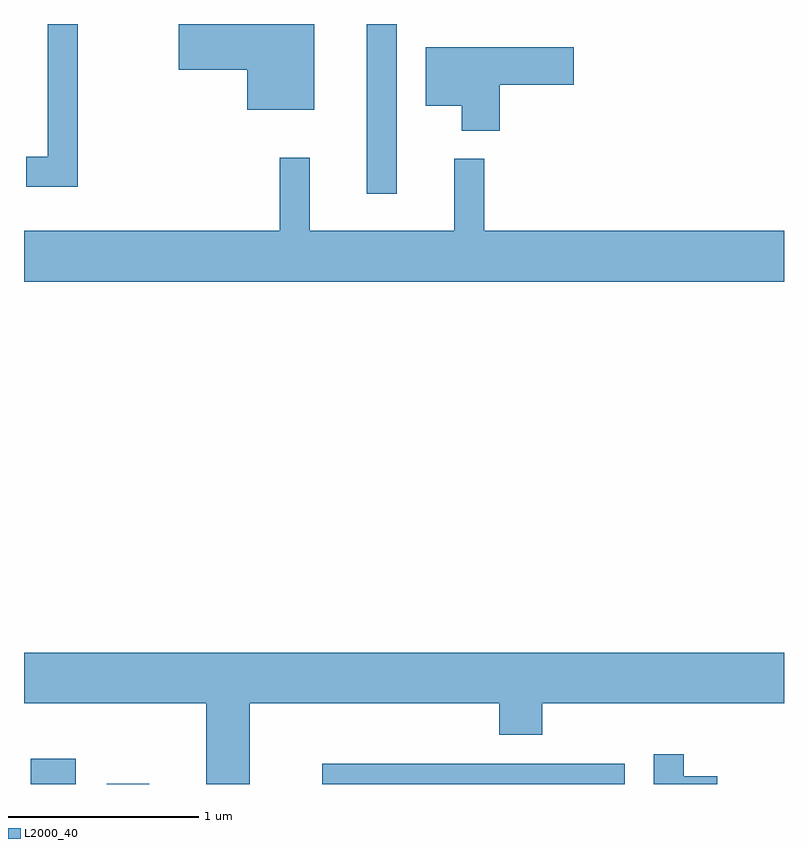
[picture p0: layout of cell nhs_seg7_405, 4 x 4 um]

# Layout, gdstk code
import gdstk
lib = gdstk.Library(unit=1e-6, precision=1e-09)
def R(c, l, rs):  # rectangles x0, y0, x1, y1
    for r in rs: c.add(gdstk.rectangle(r[:2], r[2:], *l))
def P(c, l, *ps):  # polygons
    for p in ps: c.add(gdstk.Polygon(p, *l))
L2000_40 = (2000, 40)

nhs_seg7_405 = lib.new_cell('nhs_seg7_405')
R(nhs_seg7_405, L2000_40, [(195.646,1798.252,195.884,1798.384), (196.046,1798.252,196.269,1798.254), (197.181,1798.252,198.774,1798.359), (197.416,1801.358,197.574,1802.252)])
P(nhs_seg7_405, L2000_40, [(195.894,1802.252),(195.736,1802.252),(195.736,1801.554),(195.623,1801.554),(195.623,1801.396),(195.894,1801.396)],
  [(197.139,1802.252),(196.426,1802.252),(196.426,1802.011),(196.786,1802.011),(196.786,1801.801),(197.139,1801.801)],
  [(198.114,1801.931),(198.504,1801.931),(198.504,1802.129),(197.726,1802.129),(197.726,1801.821),(197.916,1801.821),(197.916,1801.691),(198.114,1801.691)],
  [(199.611,1801.164),(198.034,1801.164),(198.034,1801.543),(197.876,1801.543),(197.876,1801.164),(197.114,1801.164),(197.114,1801.548),(196.956,1801.548),(196.956,1801.164),(195.611,1801.164),(195.611,1800.896),(199.611,1800.896)],
  [(196.799,1798.676),(198.111,1798.676),(198.111,1798.511),(198.339,1798.511),(198.339,1798.676),(199.611,1798.676),(199.611,1798.944),(195.611,1798.944),(195.611,1798.676),(196.571,1798.676),(196.571,1798.252),(196.799,1798.252)],
  [(199.259,1798.294),(199.084,1798.294),(199.084,1798.408),(198.926,1798.408),(198.926,1798.252),(199.259,1798.252)])

lib.write_gds('nhs_seg7_405.gds')
